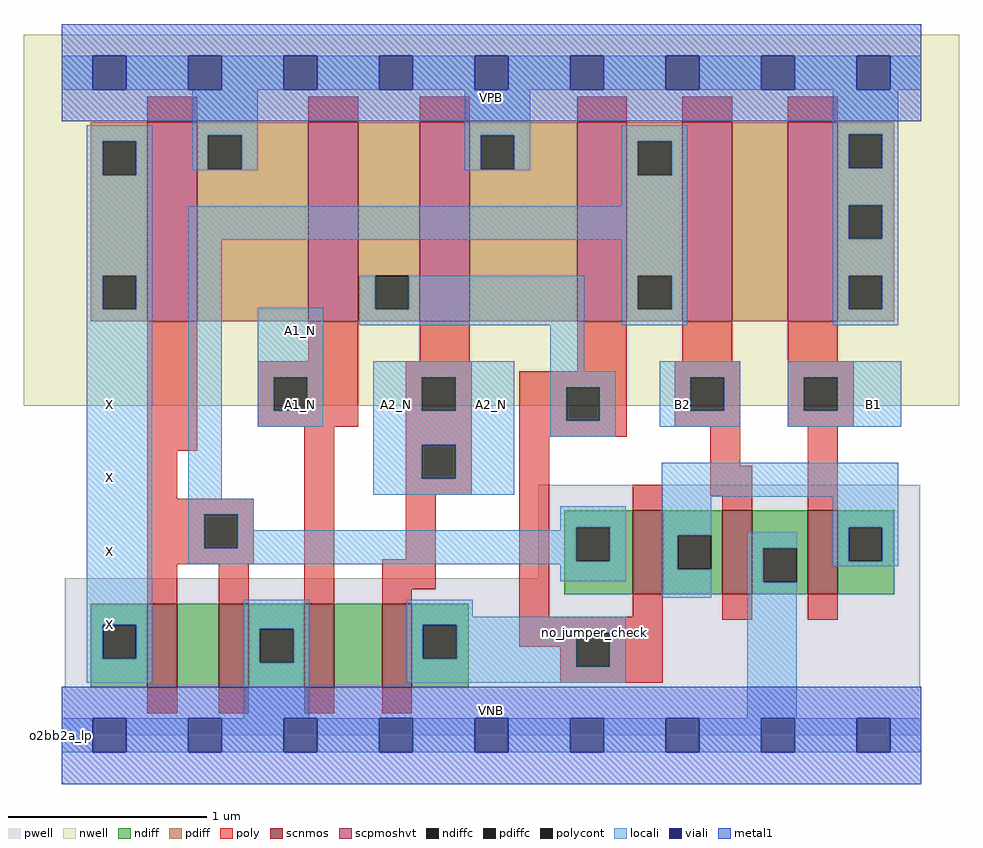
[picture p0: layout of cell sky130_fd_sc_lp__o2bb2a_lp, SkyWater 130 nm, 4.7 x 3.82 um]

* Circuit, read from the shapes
.subckt sky130_fd_sc_lp__o2bb2a_lp A1_N A2_N B1 B2 VGND VNB VPB VPWR X
XM1 n1 n2 X VNB sky130_fd_pr__nfet_01v8 w=0.42 l=0.15
XM2 VGND n2 n1 VNB sky130_fd_pr__nfet_01v8 w=0.42 l=0.15
XM3 n3 A1_N VGND VNB sky130_fd_pr__nfet_01v8 w=0.42 l=0.15
XM4 n4 A2_N n3 VNB sky130_fd_pr__nfet_01v8 w=0.42 l=0.15
XM5 n5 n4 n2 VNB sky130_fd_pr__nfet_01v8 w=0.42 l=0.15
XM6 VGND B2 n5 VNB sky130_fd_pr__nfet_01v8 w=0.42 l=0.15
XM7 n5 B1 VGND VNB sky130_fd_pr__nfet_01v8 w=0.42 l=0.15
XM8 VPWR n2 X VPB sky130_fd_pr__pfet_01v8_hvt w=1 l=0.25
XM9 n4 A1_N VPWR VPB sky130_fd_pr__pfet_01v8_hvt w=1 l=0.25
XM10 VPWR A2_N n4 VPB sky130_fd_pr__pfet_01v8_hvt w=1 l=0.25
XM11 n2 n4 VPWR VPB sky130_fd_pr__pfet_01v8_hvt w=1 l=0.25
XM12 n6 B2 n2 VPB sky130_fd_pr__pfet_01v8_hvt w=1 l=0.25
XM13 VPWR B1 n6 VPB sky130_fd_pr__pfet_01v8_hvt w=1 l=0.25
.ends

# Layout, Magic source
magic
tech sky130A
magscale 1 2
<< nwell >>
rect -38 331 902 704
<< pwell >>
rect 479 158 863 252
rect 3 49 863 158
rect 0 0 864 49
<< scnmos >>
rect 86 48 116 132
rect 158 48 188 132
rect 244 48 274 132
rect 322 48 352 132
rect 574 142 604 226
rect 664 142 694 226
rect 750 142 780 226
<< scpmoshvt >>
rect 86 416 136 616
rect 248 416 298 616
rect 360 416 410 616
rect 518 416 568 616
rect 624 416 674 616
rect 730 416 780 616
<< ndiff >>
rect 29 111 86 132
rect 29 77 41 111
rect 75 77 86 111
rect 29 48 86 77
rect 116 48 158 132
rect 188 107 244 132
rect 188 73 199 107
rect 233 73 244 107
rect 188 48 244 73
rect 274 48 322 132
rect 352 111 409 132
rect 352 77 363 111
rect 397 77 409 111
rect 505 209 574 226
rect 505 175 517 209
rect 551 175 574 209
rect 505 142 574 175
rect 604 201 664 226
rect 604 167 619 201
rect 653 167 664 201
rect 604 142 664 167
rect 694 188 750 226
rect 694 154 705 188
rect 739 154 750 188
rect 694 142 750 154
rect 780 209 837 226
rect 780 175 791 209
rect 825 175 837 209
rect 780 142 837 175
rect 352 48 409 77
<< pdiff >>
rect 29 597 86 616
rect 29 563 41 597
rect 75 563 86 597
rect 29 462 86 563
rect 29 428 41 462
rect 75 428 86 462
rect 29 416 86 428
rect 136 603 248 616
rect 136 569 147 603
rect 181 569 248 603
rect 136 416 248 569
rect 298 462 360 616
rect 298 428 315 462
rect 349 428 360 462
rect 298 416 360 428
rect 410 603 518 616
rect 410 569 421 603
rect 455 569 518 603
rect 410 416 518 569
rect 568 597 624 616
rect 568 563 579 597
rect 613 563 624 597
rect 568 462 624 563
rect 568 428 579 462
rect 613 428 624 462
rect 568 416 624 428
rect 674 416 730 616
rect 780 604 837 616
rect 780 570 791 604
rect 825 570 837 604
rect 780 533 837 570
rect 780 499 791 533
rect 825 499 837 533
rect 780 462 837 499
rect 780 428 791 462
rect 825 428 837 462
rect 780 416 837 428
<< ndiffc >>
rect 41 77 75 111
rect 199 73 233 107
rect 363 77 397 111
rect 517 175 551 209
rect 619 167 653 201
rect 705 154 739 188
rect 791 175 825 209
<< pdiffc >>
rect 41 563 75 597
rect 41 428 75 462
rect 147 569 181 603
rect 315 428 349 462
rect 421 569 455 603
rect 579 563 613 597
rect 579 428 613 462
rect 791 570 825 604
rect 791 499 825 533
rect 791 428 825 462
<< poly >>
rect 86 616 136 642
rect 248 616 298 642
rect 360 616 410 642
rect 518 616 568 642
rect 624 616 674 642
rect 730 616 780 642
rect 86 286 136 416
rect 248 376 298 416
rect 360 376 410 416
rect 197 360 298 376
rect 197 326 213 360
rect 247 326 298 360
rect 197 310 298 326
rect 346 360 412 376
rect 518 366 568 416
rect 624 376 674 416
rect 730 376 780 416
rect 346 326 362 360
rect 396 326 412 360
rect 86 238 116 286
rect 86 222 193 238
rect 86 188 143 222
rect 177 188 193 222
rect 86 172 193 188
rect 86 132 116 172
rect 158 132 188 172
rect 244 132 274 310
rect 346 292 412 326
rect 346 258 362 292
rect 396 258 412 292
rect 346 242 412 258
rect 460 350 568 366
rect 460 316 507 350
rect 541 316 568 350
rect 460 300 568 316
rect 616 360 682 376
rect 616 326 632 360
rect 666 326 682 360
rect 616 310 682 326
rect 730 360 796 376
rect 730 326 746 360
rect 780 326 796 360
rect 730 310 796 326
rect 346 177 376 242
rect 322 147 376 177
rect 322 132 352 147
rect 460 119 490 300
rect 652 271 682 310
rect 574 226 604 252
rect 652 241 694 271
rect 664 226 694 241
rect 750 226 780 310
rect 574 119 604 142
rect 460 103 604 119
rect 664 116 694 142
rect 750 116 780 142
rect 460 89 517 103
rect 501 69 517 89
rect 551 69 604 103
rect 501 53 604 69
rect 86 22 116 48
rect 158 22 188 48
rect 244 22 274 48
rect 322 22 352 48
<< polycont >>
rect 213 326 247 360
rect 362 326 396 360
rect 143 188 177 222
rect 362 258 396 292
rect 507 316 541 350
rect 632 326 666 360
rect 746 326 780 360
rect 517 69 551 103
<< locali >>
rect 0 649 31 683
rect 65 649 127 683
rect 161 649 223 683
rect 257 649 319 683
rect 353 649 415 683
rect 449 649 511 683
rect 545 649 607 683
rect 641 649 703 683
rect 737 649 799 683
rect 833 649 864 683
rect 25 597 91 613
rect 25 563 41 597
rect 75 563 91 597
rect 131 603 197 649
rect 131 569 147 603
rect 181 569 197 603
rect 131 568 197 569
rect 405 603 471 649
rect 405 569 421 603
rect 455 569 471 603
rect 405 568 471 569
rect 563 597 629 613
rect 25 462 91 563
rect 563 563 579 597
rect 613 563 629 597
rect 563 532 629 563
rect 25 428 41 462
rect 75 428 91 462
rect 25 111 91 428
rect 127 498 629 532
rect 127 238 161 498
rect 563 462 629 498
rect 197 360 263 430
rect 299 428 315 462
rect 349 428 525 462
rect 299 412 525 428
rect 563 428 579 462
rect 613 428 629 462
rect 563 412 629 428
rect 775 604 841 649
rect 775 570 791 604
rect 825 570 841 604
rect 775 533 841 570
rect 775 499 791 533
rect 825 499 841 533
rect 775 462 841 499
rect 775 428 791 462
rect 825 428 841 462
rect 775 412 841 428
rect 197 326 213 360
rect 247 326 263 360
rect 197 310 263 326
rect 313 360 455 376
rect 313 326 362 360
rect 396 326 455 360
rect 313 292 455 326
rect 491 366 525 412
rect 491 350 557 366
rect 491 316 507 350
rect 541 316 557 350
rect 491 300 557 316
rect 601 360 682 376
rect 601 326 632 360
rect 666 326 682 360
rect 601 310 682 326
rect 730 360 844 376
rect 730 326 746 360
rect 780 326 844 360
rect 730 310 844 326
rect 313 258 362 292
rect 396 258 455 292
rect 313 242 455 258
rect 603 240 841 274
rect 127 222 193 238
rect 127 188 143 222
rect 177 206 193 222
rect 501 209 567 230
rect 501 206 517 209
rect 177 188 517 206
rect 127 175 517 188
rect 551 175 567 209
rect 127 172 567 175
rect 501 155 567 172
rect 603 201 653 240
rect 775 209 841 240
rect 603 167 619 201
rect 603 138 653 167
rect 689 188 739 204
rect 689 154 705 188
rect 775 175 791 209
rect 825 175 841 209
rect 775 170 841 175
rect 25 77 41 111
rect 75 77 91 111
rect 25 53 91 77
rect 183 107 249 136
rect 183 73 199 107
rect 233 73 249 107
rect 183 17 249 73
rect 347 119 413 136
rect 347 111 567 119
rect 347 77 363 111
rect 397 103 567 111
rect 397 77 517 103
rect 347 69 517 77
rect 551 69 567 103
rect 347 53 567 69
rect 689 17 739 154
rect 0 -17 31 17
rect 65 -17 127 17
rect 161 -17 223 17
rect 257 -17 319 17
rect 353 -17 415 17
rect 449 -17 511 17
rect 545 -17 607 17
rect 641 -17 703 17
rect 737 -17 799 17
rect 833 -17 864 17
<< viali >>
rect 31 649 65 683
rect 127 649 161 683
rect 223 649 257 683
rect 319 649 353 683
rect 415 649 449 683
rect 511 649 545 683
rect 607 649 641 683
rect 703 649 737 683
rect 799 649 833 683
rect 31 -17 65 17
rect 127 -17 161 17
rect 223 -17 257 17
rect 319 -17 353 17
rect 415 -17 449 17
rect 511 -17 545 17
rect 607 -17 641 17
rect 703 -17 737 17
rect 799 -17 833 17
<< metal1 >>
rect 0 683 864 715
rect 0 649 31 683
rect 65 649 127 683
rect 161 649 223 683
rect 257 649 319 683
rect 353 649 415 683
rect 449 649 511 683
rect 545 649 607 683
rect 641 649 703 683
rect 737 649 799 683
rect 833 649 864 683
rect 0 617 864 649
rect 0 17 864 49
rect 0 -17 31 17
rect 65 -17 127 17
rect 161 -17 223 17
rect 257 -17 319 17
rect 353 -17 415 17
rect 449 -17 511 17
rect 545 -17 607 17
rect 641 -17 703 17
rect 737 -17 799 17
rect 833 -17 864 17
rect 0 -49 864 -17
<< labels >>
flabel pwell s 0 0 864 49 0 FreeSans 200 0 0 0 VNB
port 6 nsew ground bidirectional
flabel nwell s 0 617 864 666 0 FreeSans 200 0 0 0 VPB
port 7 nsew power bidirectional
rlabel comment s 0 0 0 0 4 o2bb2a_lp
flabel comment s 536 103 536 103 0 FreeSans 200 180 0 0 no_jumper_check
flabel metal1 s 0 617 864 666 0 FreeSans 340 0 0 0 VPWR
port 8 nsew power bidirectional
flabel metal1 s 0 0 864 49 0 FreeSans 340 0 0 0 VGND
port 5 nsew ground bidirectional
flabel locali s 607 316 641 350 0 FreeSans 340 0 0 0 B2
port 4 nsew signal input
flabel locali s 799 316 833 350 0 FreeSans 340 0 0 0 B1
port 3 nsew signal input
flabel locali s 319 316 353 350 0 FreeSans 340 0 0 0 A2_N
port 2 nsew signal input
flabel locali s 415 316 449 350 0 FreeSans 340 0 0 0 A2_N
port 2 nsew signal input
flabel locali s 223 316 257 350 0 FreeSans 340 0 0 0 A1_N
port 1 nsew signal input
flabel locali s 223 390 257 424 0 FreeSans 340 0 0 0 A1_N
port 1 nsew signal input
flabel locali s 31 94 65 128 0 FreeSans 340 0 0 0 X
port 9 nsew signal output
flabel locali s 31 168 65 202 0 FreeSans 340 0 0 0 X
port 9 nsew signal output
flabel locali s 31 242 65 276 0 FreeSans 340 0 0 0 X
port 9 nsew signal output
flabel locali s 31 316 65 350 0 FreeSans 340 0 0 0 X
port 9 nsew signal output
<< properties >>
string LEFsite unit
string LEFclass CORE
string FIXED_BBOX 0 0 864 666
string GDS_FILE $PDKPATH/libs.ref/sky130_fd_sc_lp/gds/sky130_fd_sc_lp.gds
string LEFsymmetry X Y R90
string GDS_END 3650056
string GDS_START 3642460
<< end >>
